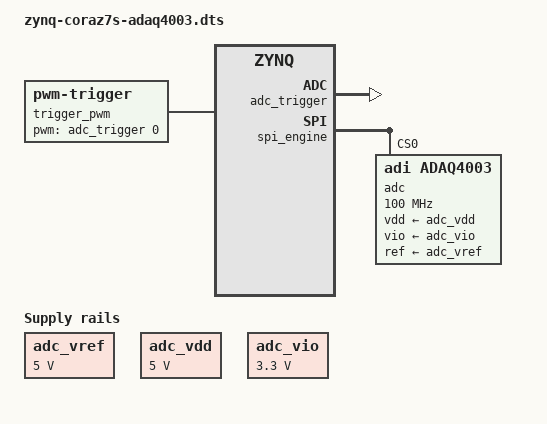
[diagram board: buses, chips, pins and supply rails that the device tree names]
// SPDX-License-Identifier: GPL-2.0
/*
 * Analog Devices ADAQ4003
 *
 * hdl_project: <pulsar_adc/coraz7s>
 * Link: https://github.com/analogdevicesinc/hdl/tree/main/projects/pulsar_adc
 * board_revision: <A>
 *
 * Copyright (C) 2023 Analog Devices Inc.
 */
/dts-v1/;
#include "zynq-coraz7s.dtsi"
#include "zynq-coraz7s-axi-sysid.dtsi"
#include <dt-bindings/interrupt-controller/irq.h>
#include <dt-bindings/gpio/gpio.h>

/ {
	adc_vref: regulator-vref {
		compatible = "regulator-fixed";
		regulator-name = "EVAL 5V Vref";
		regulator-min-microvolt = <5000000>;
		regulator-max-microvolt = <5000000>;
		regulator-always-on;
	};

	adc_vdd: regulator-vdd {
		compatible = "regulator-fixed";
		regulator-name = "Eval VDD supply";
		regulator-min-microvolt = <5000000>;
		regulator-max-microvolt = <5000000>;
		regulator-always-on;
	};

	adc_vio: regulator-vio {
		compatible = "regulator-fixed";
		regulator-name = "Eval VIO supply";
		regulator-min-microvolt = <3300000>;
		regulator-max-microvolt = <3300000>;
		regulator-always-on;
	};

	trigger_pwm: adc-pwm-trigger {
		compatible = "pwm-trigger";
		#trigger-source-cells = <0>;
		pwms = <&adc_trigger 0 1000000 0>;
	};
};

&fpga_axi {

	adc_trigger: pwm@0x44b00000 {
		compatible = "adi,axi-pwmgen-2.00.a";
		reg = <0x44b00000 0x1000>;
		label = "adc_conversion_trigger";
		#pwm-cells = <2>;
		clocks = <&clkc 15>, <&spi_clk>;
		clock-names = "axi", "ext";
	};

	spi_engine: spi@44a00000 {
		compatible = "adi,axi-spi-engine-1.00.a";
		reg = <0x44a00000 0x10000>;
		interrupt-parent = <&intc>;
		interrupts = <0 56 IRQ_TYPE_LEVEL_HIGH>;
		clocks = <&clkc 15 &spi_clk>;
		clock-names = "s_axi_aclk", "spi_clk";

		dmas = <&rx_dma 0>;
		dma-names = "offload0-rx";
		trigger-sources = <&trigger_pwm>;

		#address-cells = <0x1>;
		#size-cells = <0x0>;

		adc@0 {
			compatible = "adi,adaq4003";
			reg = <0>;
			spi-max-frequency = <100000000>;
			vdd-supply = <&adc_vdd>;
			vio-supply = <&adc_vio>;
			ref-supply = <&adc_vref>;
			adi,high-z-input;
			adi,gain-milli = /bits/ 16 <454>;
		};
	};

	rx_dma: dma-controller@44a30000 {
		compatible = "adi,axi-dmac-1.00.a";
		reg = <0x44a30000 0x1000>;
		#dma-cells = <1>;
		interrupt-parent = <&intc>;
		interrupts = <0 57 IRQ_TYPE_LEVEL_HIGH>;
		clocks = <&clkc 16>;
	};

	spi_clk: clock-controller@0x44a70000 {
		compatible = "adi,axi-clkgen-2.00.a";
		reg = <0x44a70000 0x10000>;
		#clock-cells = <0>;
		clocks = <&clkc 15>, <&clkc 15>;
		clock-names = "clkin1", "s_axi_aclk";
		clock-output-names = "spi_clk";

		assigned-clocks = <&spi_clk>;
		assigned-clock-rates = <200000000>;
	};
};
